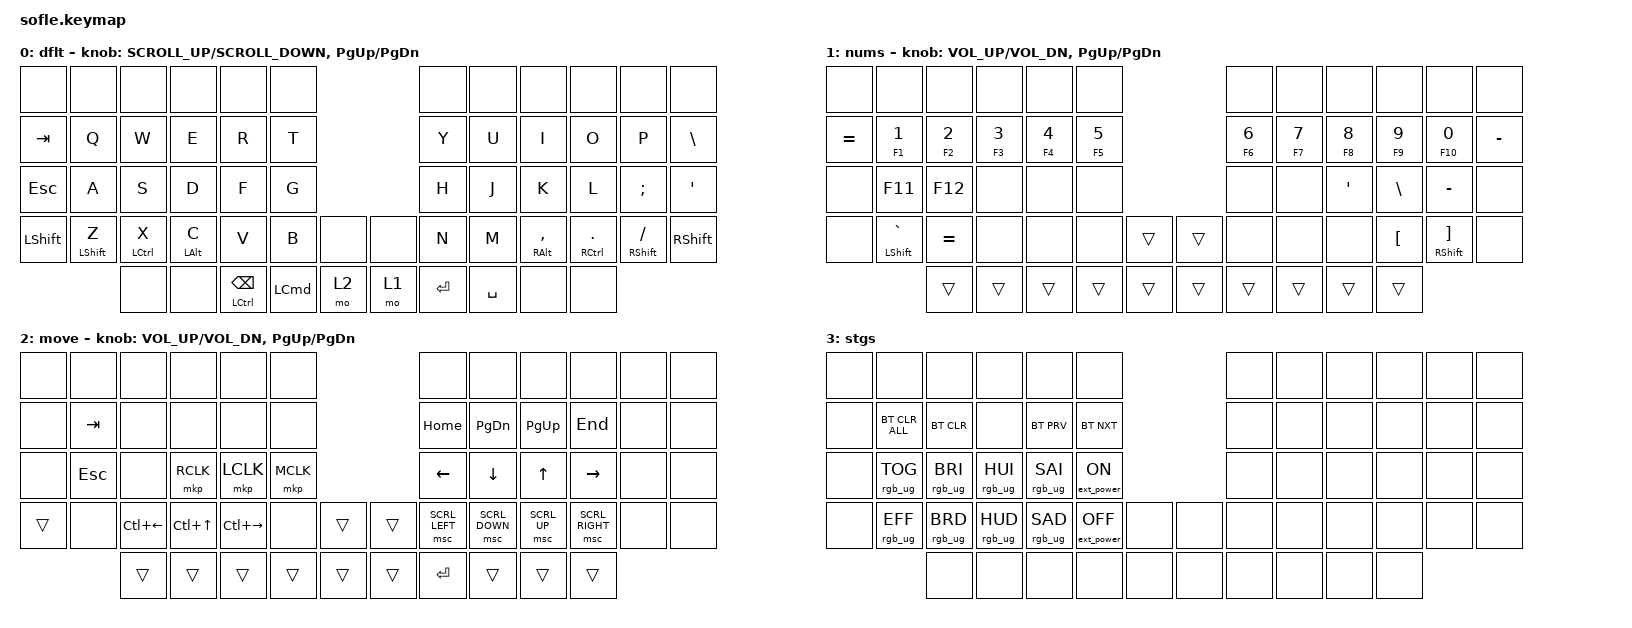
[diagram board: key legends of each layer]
/*
 * Copyright (c) 2020 The ZMK Contributors
 *
 * SPDX-License-Identifier: MIT
 */

#include <behaviors.dtsi>
#include <dt-bindings/zmk/bt.h>
#include <dt-bindings/zmk/ext_power.h>
#include <dt-bindings/zmk/keys.h>
#include <dt-bindings/zmk/pointing.h>
#include <dt-bindings/zmk/rgb.h>

#define BASE 0
#define LOWER 1
#define RAISE 2
#define ADJUST 3

/ {
    // Activate ADJUST layer by pressing raise and lower

    conditional_layers {
        compatible = "zmk,conditional-layers";

        adjust_layer {
            if-layers = <1 2>;
            then-layer = <3>;
        };
    };

    behaviors {
        hold_tap_with_repeat: hold_tap_with_repeat {
            compatible = "zmk,behavior-hold-tap";
            label = "HOLD_TAP_WITH_REPEAT";
            bindings = <&kp>, <&kp>;

            #binding-cells = <2>;
            tapping-term-ms = <200>;
            quick-tap-ms = <150>;
        };
    };

    keymap {
        compatible = "zmk,keymap";

        default_layer {
            display-name = "dflt";

            // ------------------------------------------------------------------------------------------------------------
            // |   `   |  1  |  2  |  3   |  4   |  5   |                   |  6   |  7    |  8    |  9   |   0   |       |
            // |  ESC  |  Q  |  W  |  E   |  R   |  T   |                   |  Y   |  U    |  I    |  O   |   P   | BKSPC |
            // |  TAB  |  A  |  S  |  D   |  F   |  G   |                   |  H   |  J    |  K    |  L   |   ;   |   '   |
            // | SHIFT |  Z  |  X  |  C   |  V   |  B   |  MUTE  |  |       |  N   |  M    |  ,    |  .   |   /   | SHIFT |
            //               | GUI | ALT  | CTRL | LOWER|  ENTER |  | SPACE | RAISE| CTRL  | ALT   | GUI  |

            bindings = <
&none           &none             &none        &none           &none                                  &none                             &none      &none      &none           &none          &none           &none
&kp TAB         &kp Q             &kp W        &kp E           &kp R                                  &kp T                             &kp Y      &kp U      &kp I           &kp O          &kp P           &kp BACKSLASH
&kp ESC         &kp A             &kp S        &kp D           &kp F                                  &kp G                             &kp H      &kp J      &kp K           &kp L          &kp SEMI        &kp SQT
&kp LEFT_SHIFT  &mt LEFT_SHIFT Z  &mt LCTRL X  &mt LEFT_ALT C  &kp V                                  &kp B             &none    &none  &kp N      &kp M      &mt RALT COMMA  &mt RCTRL DOT  &mt RSHFT FSLH  &kp RSHFT
                                  &none        &none           &hold_tap_with_repeat LCTRL BACKSPACE  &kp LEFT_COMMAND  &mo 2    &mo 1  &kp ENTER  &kp SPACE  &none           &none
            >;

            sensor-bindings =
                <&inc_dec_kp K_SCROLL_UP K_SCROLL_DOWN>,
                <&inc_dec_kp PG_UP PG_DN>;
        };

        num_sym {
            display-name = "nums";

            // TODO: Some binds are waiting for shifted keycode support.
            // ------------------------------------------------------------------------------------------------------------
            // |       |  F1 |  F2 |  F3  |  F4  |  F5  |                   |  F6  |  F7   |  F8   |  F9  |  F10  |  F11  |
            // |   `   |  1  |  2  |  3   |  4   |  5   |                   |  6   |  7    |  8    |  9   |   0   |  F12  |
            // |       |  !  |  @  |  #   |  $   |  %   |                   |  ^   |  &    |  *    |  (   |   )   |   |   |
            // |       |  =  |  -  |  +   |  {   |  }   |        |  |       |  [   |  ]    |  ;    |  :   |   \   |       |
            //               |     |      |      |      |        |  |       |      |       |       |      |

            bindings = <
&none      &none                 &none            &none            &none            &none                        &none            &none      &none             &none             &none                     &none
&kp EQUAL  &mt F1 NUMBER_1       &mt F2 NUMBER_2  &mt F3 NUMBER_3  &mt F4 NUMBER_4  &mt F5 N5                    &mt F6 NUMBER_6  &mt F7 N7  &mt F8 N8         &mt F9 N9         &mt F10 N0                &kp MINUS
&none      &kp F11               &kp F12          &none            &none            &none                        &none            &none      &kp SINGLE_QUOTE  &kp BACKSLASH     &kp MINUS                 &none
&none      &mt LEFT_SHIFT GRAVE  &kp EQUAL        &none            &none            &none      &trans    &trans  &none            &none      &none             &kp LEFT_BRACKET  &mt RSHIFT RIGHT_BRACKET  &none
                                 &trans           &trans           &trans           &trans     &trans    &trans  &trans           &trans     &trans            &trans
            >;

            sensor-bindings = <&inc_dec_kp C_VOL_UP C_VOL_DN &inc_dec_kp PG_UP PG_DN>;
        };

        move {
            display-name = "move";
            bindings = <
&none   &none       &none         &none       &none          &none                        &none           &none           &none         &none            &none  &none
&none   &kp TAB     &none         &none       &none          &none                        &kp HOME        &kp PAGE_DOWN   &kp PAGE_UP   &kp END          &none  &none
&none   &kp ESCAPE  &none         &mkp RCLK   &mkp LCLK      &mkp MCLK                    &kp LEFT_ARROW  &kp DOWN        &kp UP        &kp RIGHT        &none  &none
&trans  &none       &kp LC(LEFT)  &kp LC(UP)  &kp LC(RIGHT)  &none      &trans    &trans  &msc SCRL_LEFT  &msc SCRL_DOWN  &msc SCRL_UP  &msc SCRL_RIGHT  &none  &none
                    &trans        &trans      &trans         &trans     &trans    &trans  &kp ENTER       &trans          &trans        &trans
            >;

            sensor-bindings =
                <&inc_dec_kp C_VOL_UP C_VOL_DN>,
                <&inc_dec_kp PG_UP PG_DN>;
        };

        settings {
            // ----------------------------------------------------------------------------------------------------------------------------
            // | BTCLR  |  BT1    |  BT2    |   BT3   |   BT4   |   BT5   |                  |      |      |       |      |       |       |
            // | EXTPWR | RGB_HUD | RGB_HUI | RGB_SAD | RGB_SAI | RGB_EFF |                  |      |      |       |      |       |       |
            // |        | RGB_BRD | RGB_BRI |         |         |         |                  |      |      |       |      |       |       |
            // |        |         |         |         |         |         | RGB_TOG | |      |      |      |       |      |       |       |
            //                    |         |         |         |         |         | |      |      |      |       |      |

            display-name = "stgs";
            bindings = <
&none  &none            &none            &none            &none            &none                              &none  &none  &none  &none  &none  &none
&none  &bt BT_CLR_ALL   &bt BT_CLR       &none            &bt BT_PRV       &bt BT_NXT                         &none  &none  &none  &none  &none  &none
&none  &rgb_ug RGB_TOG  &rgb_ug RGB_BRI  &rgb_ug RGB_HUI  &rgb_ug RGB_SAI  &ext_power EP_ON                   &none  &none  &none  &none  &none  &none
&none  &rgb_ug RGB_EFF  &rgb_ug RGB_BRD  &rgb_ug RGB_HUD  &rgb_ug RGB_SAD  &ext_power EP_OFF  &none    &none  &none  &none  &none  &none  &none  &none
                        &none            &none            &none            &none              &none    &none  &none  &none  &none  &none
            >;
        };
    };
};
